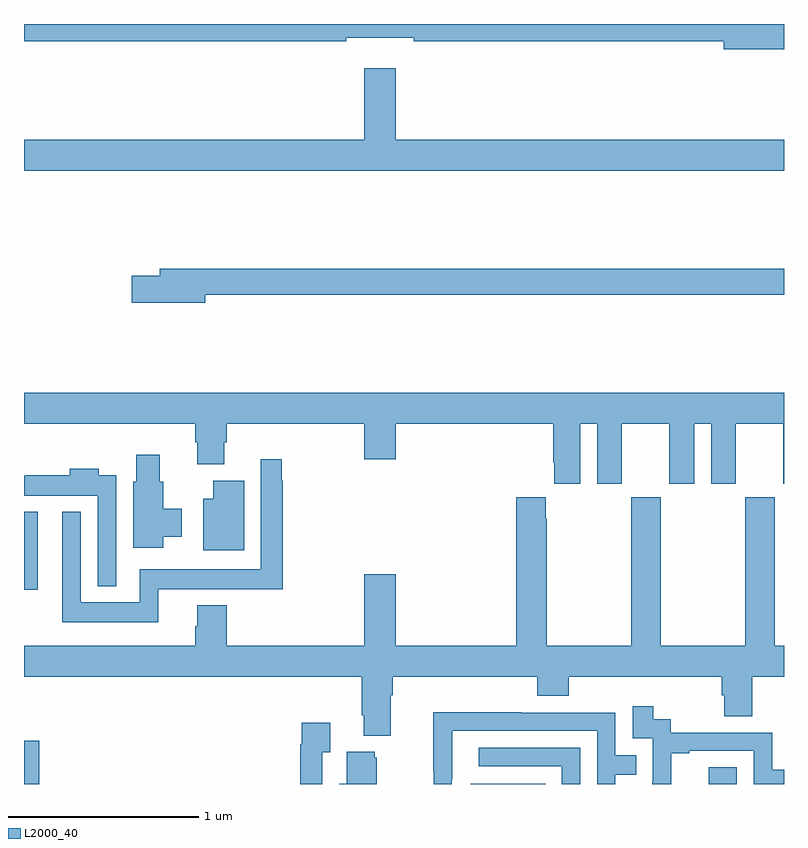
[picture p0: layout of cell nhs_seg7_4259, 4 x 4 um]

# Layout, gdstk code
import gdstk
lib = gdstk.Library(unit=1e-6, precision=1e-09)
def R(c, l, rs):  # rectangles x0, y0, x1, y1
    for r in rs: c.add(gdstk.rectangle(r[:2], r[2:], *l))
def P(c, l, *ps):  # polygons
    for p in ps: c.add(gdstk.Polygon(p, *l))
L2000_40 = (2000, 40)

nhs_seg7_4259 = lib.new_cell('nhs_seg7_4259')
R(nhs_seg7_4259, L2000_40, [(379,1052,379.079,1052.227), (381.35,1052,381.746,1052.002), (382.605,1052,382.752,1052.089), (379,1053.022,379.072,1053.433)])
P(nhs_seg7_4259, L2000_40, [(383,1056),(379,1056),(379,1055.908),(380.696,1055.908),(380.696,1055.927),(381.052,1055.927),(381.052,1055.908),(382.682,1055.908),(382.682,1055.866),(383,1055.866)],
  [(383,1055.392),(380.956,1055.392),(380.956,1055.767),(380.792,1055.767),(380.792,1055.392),(379,1055.392),(379,1055.228),(383,1055.228)],
  [(379.954,1054.576),(383,1054.576),(383,1054.712),(379.715,1054.712),(379.715,1054.676),(379.566,1054.676),(379.566,1054.534),(379.954,1054.534)],
  [(381.928,1053.896),(382.016,1053.896),(382.016,1053.579),(382.147,1053.579),(382.147,1053.896),(382.397,1053.896),(382.397,1053.579),(382.528,1053.579),(382.528,1053.896),(382.616,1053.896),(382.616,1053.579),(382.747,1053.579),(382.747,1053.896),(382.997,1053.896),(382.997,1053.579),(383,1053.579),(383,1054.06),(379,1054.06),(379,1053.896),(379.901,1053.896),(379.901,1053.798),(379.913,1053.798),(379.913,1053.684),(380.053,1053.684),(380.053,1053.798),(380.066,1053.798),(380.066,1053.896),(380.792,1053.896),(380.792,1053.708),(380.956,1053.708),(380.956,1053.896),(381.785,1053.896),(381.785,1053.691),(381.791,1053.691),(381.791,1053.579),(381.928,1053.579)],
  [(379.732,1053.302),(379.831,1053.302),(379.831,1053.45),(379.732,1053.45),(379.732,1053.591),(379.714,1053.591),(379.714,1053.733),(379.592,1053.733),(379.592,1053.591),(379.574,1053.591),(379.574,1053.243),(379.732,1053.243)],
  [(379.706,1053.026),(380.24,1053.026),(380.24,1053.024),(380.363,1053.024),(380.363,1053.596),(380.356,1053.596),(380.356,1053.709),(380.247,1053.709),(380.247,1053.13),(379.608,1053.13),(379.608,1052.956),(379.299,1052.956),(379.299,1053.433),(379.202,1053.433),(379.202,1052.852),(379.706,1052.852)],
  [(379.485,1053.625),(379.393,1053.625),(379.393,1053.658),(379.241,1053.658),(379.241,1053.625),(379.009,1053.625),(379.009,1053.622),(379,1053.622),(379,1053.518),(379.389,1053.518),(379.389,1053.041),(379.485,1053.041)],
  [(380.158,1053.595),(379.997,1053.595),(379.997,1053.502),(379.943,1053.502),(379.943,1053.23),(380.158,1053.23)],
  [(380.929,1052.468),(380.942,1052.468),(380.942,1052.564),(381.701,1052.564),(381.701,1052.465),(381.866,1052.465),(381.866,1052.564),(382.673,1052.564),(382.673,1052.466),(382.685,1052.466),(382.685,1052.356),(382.833,1052.356),(382.833,1052.564),(383,1052.564),(383,1052.728),(382.95,1052.728),(382.95,1053.508),(382.795,1053.508),(382.795,1052.728),(382.35,1052.728),(382.35,1053.508),(382.195,1053.508),(382.195,1052.728),(381.75,1052.728),(381.75,1053.395),(381.745,1053.395),(381.745,1053.508),(381.59,1053.508),(381.59,1052.728),(380.956,1052.728),(380.956,1053.103),(380.792,1053.103),(380.792,1052.728),(380.066,1052.728),(380.066,1052.941),(379.913,1052.941),(379.913,1052.829),(379.901,1052.829),(379.901,1052.728),(379,1052.728),(379,1052.564),(380.777,1052.564),(380.777,1052.362),(380.789,1052.362),(380.789,1052.255),(380.929,1052.255)],
  [(382.406,1052.163),(382.501,1052.163),(382.501,1052.175),(382.842,1052.175),(382.842,1052),(383,1052),(383,1052.076),(382.938,1052.076),(382.938,1052.271),(382.404,1052.271),(382.404,1052.34),(382.312,1052.34),(382.312,1052.41),(382.203,1052.41),(382.203,1052.241),(382.308,1052.241),(382.308,1052.012),(382.307,1052.012),(382.307,1052),(382.406,1052)],
  [(381.252,1052.026),(381.253,1052.026),(381.253,1052.28),(382.017,1052.28),(382.017,1052),(382.113,1052),(382.113,1052.05),(382.223,1052.05),(382.223,1052.151),(382.113,1052.151),(382.113,1052.376),(381.617,1052.376),(381.617,1052.378),(381.154,1052.378),(381.154,1052.071),(381.156,1052.071),(381.156,1052),(381.252,1052)],
  [(380.571,1052.167),(380.611,1052.167),(380.611,1052.323),(380.463,1052.323),(380.463,1052.21),(380.455,1052.21),(380.455,1052),(380.571,1052)],
  [(381.927,1052.19),(381.393,1052.19),(381.393,1052.094),(381.831,1052.094),(381.831,1052),(381.927,1052)],
  [(380.857,1052.139),(380.846,1052.139),(380.846,1052.17),(380.699,1052.17),(380.699,1052.002),(380.66,1052.002),(380.66,1052),(380.857,1052)])

lib.write_gds('nhs_seg7_4259.gds')
